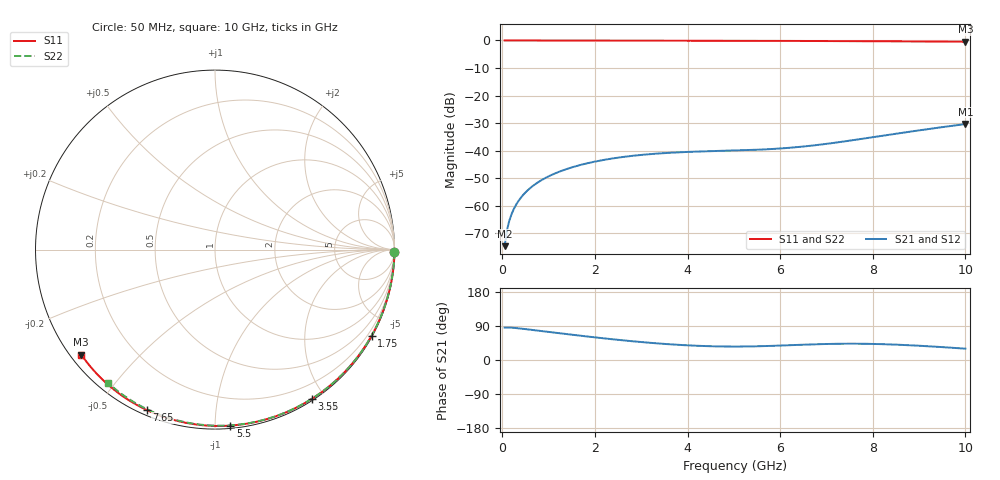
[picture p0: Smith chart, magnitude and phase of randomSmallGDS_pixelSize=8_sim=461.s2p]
! freq	dB(S11)	phase(S11)	dB(S12)	phase(S12)
!  dB(S21)	phase(S21)	dB(S22)	phase(S22)
!S-par simulation data
#  GHz  S  DB  R 50
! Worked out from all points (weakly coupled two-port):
!   200 points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, 50 MHz to 10 GHz, reference 50 ohm
!   highest |S21| = -30.33 dB at 10 GHz (marker M1); lowest = -74.6 dB at 50 MHz (marker M2)
!   lowest |S11| = -0.5 dB at 10 GHz (marker M3), VSWR 36.91, Z = 1.52 - j17.3 ohm
!   |S11| at or under -10 dB: nowhere
!   |S22| runs from -0.4 to 0.0 dB; largest |S21 - S12| = 0
!   S11 on the Smith chart (normalised r, x): 50 MHz: open; 1.75 GHz: 0.03, -3.89; 3.55 GHz: 0.02, -1.84; 5.5 GHz: 0.02, -1.09; 7.65 GHz: 0.02, -0.66; 10 GHz: 0.03, -0.35
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0.05  -0.00 -0.8  -74.60 85.5  -74.60 85.5  -0.00 -0.8
0.1  -0.00 -1.7  -68.88 85.7  -68.88 85.7  -0.00 -1.5
0.15  -0.00 -2.5  -65.45 85.7  -65.45 85.7  -0.00 -2.3
0.2  -0.00 -3.4  -62.99 85.3  -62.99 85.3  -0.00 -3.0
0.25  -0.00 -4.2  -61.07 84.8  -61.07 84.8  -0.00 -3.8
0.35  -0.00 -5.9  -58.18 83.6  -58.18 83.6  -0.00 -5.3
0.5  -0.01 -8.4  -55.12 81.5  -55.12 81.5  -0.01 -7.5
0.7  -0.01 -11.7  -52.25 78.6  -52.25 78.6  -0.01 -10.5
1  -0.02 -16.6  -49.27 74.1  -49.27 74.1  -0.02 -15.0
1.35  -0.03 -22.4  -46.85 68.9  -46.85 68.9  -0.03 -20.1
1.75  -0.04 -28.8  -44.88 63.2  -44.88 63.2  -0.03 -26.0
2.5  -0.05 -40.8  -42.49 53.2  -42.49 53.2  -0.05 -36.8
3.4  -0.07 -54.7  -40.96 43.4  -40.96 43.4  -0.07 -49.4
3.55  -0.08 -57.0  -40.80 42.0  -40.80 42.0  -0.07 -51.5
4.3  -0.10 -68.1  -40.24 37.1  -40.24 37.1  -0.09 -61.6
5.05  -0.12 -78.8  -39.90 35.5  -39.90 35.5  -0.11 -71.4
5.5  -0.14 -85.0  -39.63 36.2  -39.63 36.2  -0.12 -77.1
6.7  -0.19 -101.0  -38.10 41.2  -38.10 41.2  -0.18 -91.8
7.65  -0.25 -113.1  -35.97 43.0  -35.97 43.0  -0.23 -102.8
8.35  -0.31 -121.8  -34.20 41.2  -34.20 41.2  -0.28 -110.7
9.2  -0.38 -132.2  -32.13 36.2  -32.13 36.2  -0.35 -120.1
10  -0.47 -141.9  -30.33 29.9  -30.33 29.9  -0.43 -128.8
